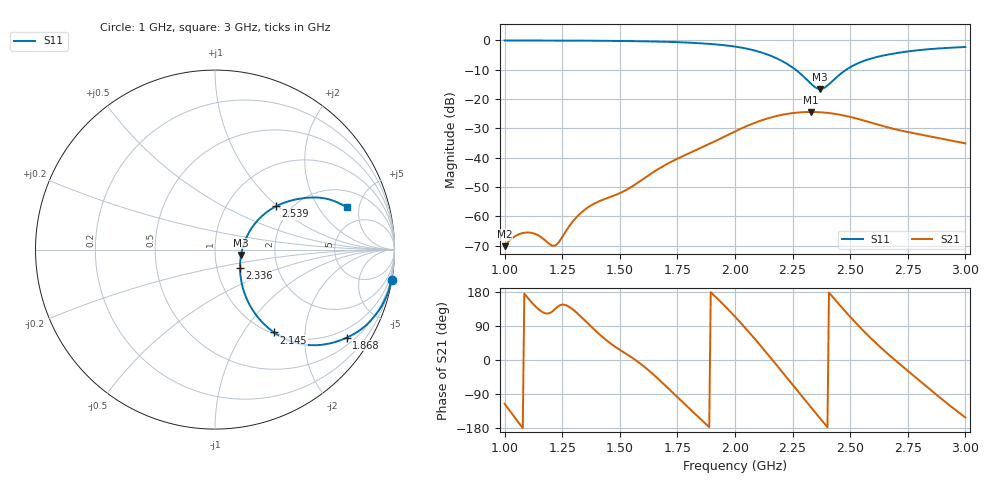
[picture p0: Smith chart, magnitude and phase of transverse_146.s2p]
! TOUCHSTONE file generated by CST MICROWAVE STUDIO
! Date and time: Tue Mar 11 13:57:10 2025
! Project name: transverse.cst
! Parameters = {Fracture=5; B=10; D=160; F=5; Feed=2.85625; L=100; M=10; R=0.384908; S=1; Theta=180; length=57.125; wave=114.25}
! Header version: 2024
! Port assignment regex: !\s*Touchstone port\s*([0-9]+)\s*=\s*(CST MWS port|CST DES external port|CST DES block port)\s*(.+)\s* \(\"(.*)\"\)(\s*mode\s*([0-9]+))?.*
! Touchstone port assignment:
! Touchstone port 1 = CST MWS port 1 ("")
! Touchstone port 2 = CST MWS port 2 ("")
# GHz S MA R 50
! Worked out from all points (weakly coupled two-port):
!   305 points, 1 GHz to 3 GHz, reference 50 ohm
!   highest |S21| = -24.41 dB at 2.329 GHz (marker M1); lowest = -70.2 dB at 1 GHz (marker M2)
!   lowest |S11| = -16.6 dB at 2.368 GHz (marker M3), VSWR 1.35, Z = 66.9 - j3.99 ohm
!   |S11| at or under -10 dB: 2.263 GHz to 2.483 GHz (219.6 MHz wide, 9.26 % of centre)
!   S12 and S22 are empty: the file has one direction only
!   S11 on the Smith chart (normalised r, x): 1 GHz: 0, -12; 1.868 GHz: 0.71, -3.16; 2.145 GHz: 1.02, -1.39; 2.336 GHz: 1.29, -0.28; 2.539 GHz: 1.67, +0.98; 3 GHz: 3.22, +3.75
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1  0.9979 -9.8  0.0003097 -115.6  0 0.0  0 0.0
1.04605  0.9972 -10.4  0.0004594 -153.5  0 0.0  0 0.0
1.09868  0.9962 -11.1  0.0005303 165.4  0 0.0  0 0.0
1.13816  0.9956 -11.7  0.0004906 138.9  0 0.0  0 0.0
1.21711  0.9945 -13.0  0.000316 133.6  0 0.0  0 0.0
1.29605  0.9918 -14.5  0.0008173 133.4  0 0.0  0 0.0
1.33553  0.9899 -15.2  0.001186 111.9  0 0.0  0 0.0
1.39474  0.9868 -16.5  0.00169 77.1  0 0.0  0 0.0
1.53289  0.9755 -20.0  0.002888 14.2  0 0.0  0 0.0
1.67105  0.9536 -24.4  0.00654 -52.3  0 0.0  0 0.0
1.86842  0.8833 -33.7  0.01571 -165.9  0 0.0  0 0.0
2  0.7846 -42.7  0.02808 114.4  0 0.0  0 0.0
2.14474  0.5668 -54.5  0.0471 13.2  0 0.0  0 0.0
2.24342  0.3594 -57.9  0.05712 -60.3  0 0.0  0 0.0
2.32895  0.1839 -40.4  0.06022 -124.3  0 0.0  0 0.0
2.33553  0.1741 -36.8  0.0602 -129.2  0 0.0  0 0.0
2.36842  0.1482 -11.4  0.05957 -153.4  0 0.0  0 0.0
2.39474  0.1622 10.1  0.05843 -172.6  0 0.0  0 0.0
2.46053  0.2736 33.6  0.05352 140.7  0 0.0  0 0.0
2.53947  0.4169 35.4  0.04521 88.3  0 0.0  0 0.0
2.67105  0.5798 29.8  0.03227 12.1  0 0.0  0 0.0
3  0.7718 17.8  0.01759 -151.7  0 0.0  0 0.0
